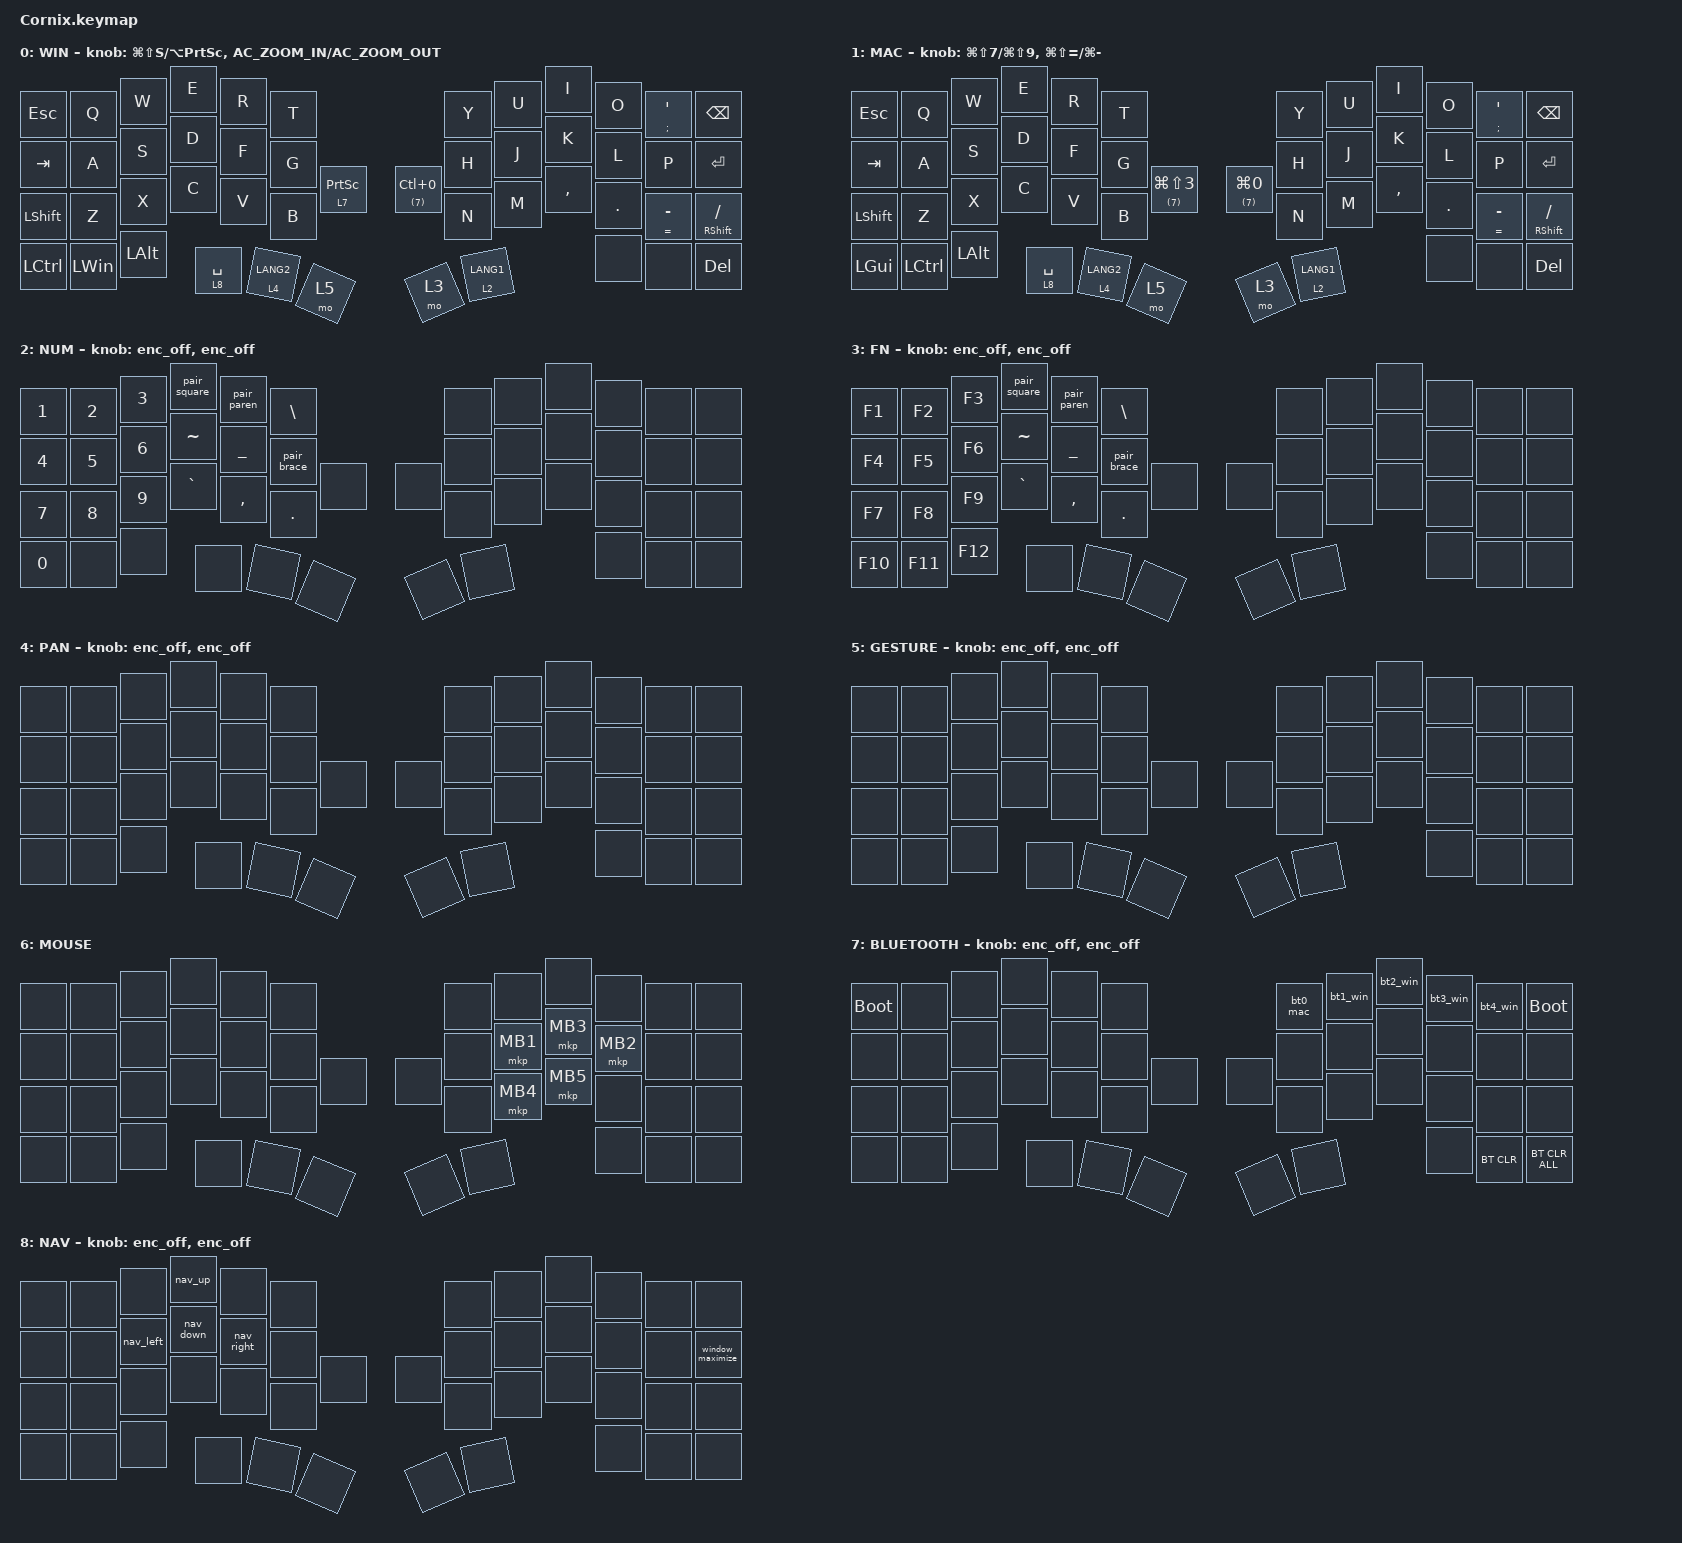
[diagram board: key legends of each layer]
/* Stock Cornix, 49 keys (unused lower-right switch omitted). Right central; no trackball hardware. */

#include <dt-bindings/zmk/input_transform.h>
#include <input/processors.dtsi>
#include <behaviors.dtsi>
#include <dt-bindings/zmk/bt.h>
#include <dt-bindings/zmk/keys.h>
#include <dt-bindings/zmk/pointing.h>

&mt {
    flavor = "balanced";
    quick-tap-ms = <0>;
};

/ {
    macros {
        pair_paren: pair_paren {
            compatible = "zmk,behavior-macro";
            #binding-cells = <0>;
            display-name = "Pair ()";
            wait-ms = <10>;
            tap-ms = <10>;
            bindings = <&macro_tap>, <&kp LS(N9) &kp LS(N0) &kp LEFT>;
        };

        pair_square: pair_square {
            compatible = "zmk,behavior-macro";
            #binding-cells = <0>;
            display-name = "Pair []";
            wait-ms = <10>;
            tap-ms = <10>;
            bindings = <&macro_tap>, <&kp LBKT &kp RBKT &kp LEFT>;
        };

        pair_brace: pair_brace {
            compatible = "zmk,behavior-macro";
            #binding-cells = <0>;
            display-name = "Pair {}";
            wait-ms = <10>;
            tap-ms = <10>;
            bindings = <&macro_tap>, <&kp LS(LBKT) &kp LS(RBKT) &kp LEFT>;
        };

        /* Keep legacy macro node names so existing Studio bindings resolve.
         * All five now select only a Bluetooth slot; OS is always automatic. */

        bt0_mac: bt0_mac {
            compatible = "zmk,behavior-macro";
            #binding-cells = <0>;
            bindings = <&bt BT_SEL 0>;
            display-name = "BT 0";
            label = "BT0_MAC";
        };

        bt1_win: bt1_win {
            compatible = "zmk,behavior-macro";
            #binding-cells = <0>;
            bindings = <&bt BT_SEL 1>;
            display-name = "BT 1";
            label = "BT1_WIN";
        };

        bt2_win: bt2_win {
            compatible = "zmk,behavior-macro";
            #binding-cells = <0>;
            bindings = <&bt BT_SEL 2>;
            display-name = "BT 2";
            label = "BT2_WIN";
        };

        bt3_win: bt3_win {
            compatible = "zmk,behavior-macro";
            #binding-cells = <0>;
            bindings = <&bt BT_SEL 3>;
            display-name = "BT 3";
            label = "BT3_WIN";
        };

        bt4_win: bt4_win {
            compatible = "zmk,behavior-macro";
            #binding-cells = <0>;
            bindings = <&bt BT_SEL 4>;
            display-name = "BT 4";
            label = "BT4_WIN";
        };
    };

    behaviors {
        window_maximize: window_maximize {
            compatible = "custom,behavior-os-key";
            #binding-cells = <0>;
            mac-layer = <1>;
            win-keycode = <LG(UP)>;
            mac-keycode = <LG(ENTER)>;
        };

        window_up: window_up {
            compatible = "custom,behavior-os-key";
            #binding-cells = <0>;
            mac-layer = <1>;
            win-keycode = <LG(LS(LEFT))>;
            mac-keycode = <LG(UP)>;
        };

        window_left: window_left {
            compatible = "custom,behavior-os-key";
            #binding-cells = <0>;
            mac-layer = <1>;
            win-keycode = <LG(LEFT)>;
            mac-keycode = <LG(LEFT)>;
        };

        window_down: window_down {
            compatible = "custom,behavior-os-key";
            #binding-cells = <0>;
            mac-layer = <1>;
            win-keycode = <LG(LS(RIGHT))>;
            mac-keycode = <LG(DOWN)>;
        };

        window_right: window_right {
            compatible = "custom,behavior-os-key";
            #binding-cells = <0>;
            mac-layer = <1>;
            win-keycode = <LG(RIGHT)>;
            mac-keycode = <LG(RIGHT)>;
        };

        /* NAV: single tap = arrow, double tap = OS-specific Window action. */

        nav_up: nav_up {
            compatible = "zmk,behavior-tap-dance";
            #binding-cells = <0>;
            tapping-term-ms = <200>;
            bindings = <&kp UP>, <&window_up>;
        };

        nav_left: nav_left {
            compatible = "zmk,behavior-tap-dance";
            #binding-cells = <0>;
            tapping-term-ms = <200>;
            bindings = <&kp LEFT>, <&window_left>;
        };

        nav_down: nav_down {
            compatible = "zmk,behavior-tap-dance";
            #binding-cells = <0>;
            tapping-term-ms = <200>;
            bindings = <&kp DOWN>, <&window_down>;
        };

        nav_right: nav_right {
            compatible = "zmk,behavior-tap-dance";
            #binding-cells = <0>;
            tapping-term-ms = <200>;
            bindings = <&kp RIGHT>, <&window_right>;
        };

        /* Consumes rotation without output; an omitted binding would fall
         * through to the WIN/MAC base layer.
         */

        enc_off: enc_off {
            compatible = "zmk,behavior-sensor-rotate";
            #sensor-binding-cells = <0>;
            bindings = <&none>, <&none>;
        };
    };

    keymap {
        compatible = "zmk,keymap";

        WIN {
            display-name = "WIN";
            bindings = <
&kp ESC         &kp Q         &kp W         &kp E        &kp R        &kp T                               &kp Y  &kp U        &kp I      &kp O    &mt SEMICOLON SQT  &kp BACKSPACE
&kp TAB         &kp A         &kp S         &kp D        &kp F        &kp G                               &kp H  &kp J        &kp K      &kp L    &kp P              &kp ENTER
&kp LEFT_SHIFT  &kp Z         &kp X         &kp C        &kp V        &kp B  &lt 7 PSCRN  &lt (7) LC(N0)  &kp N  &kp M        &kp COMMA  &kp DOT  &mt EQUAL MINUS    &mt RSHFT SLASH
&kp LCTRL       &kp LEFT_WIN  &kp LEFT_ALT  &lt 8 SPACE  &lt 4 LANG2  &mo 5                               &mo 3  &lt 2 LANG1             &none    &none              &kp DELETE
            >;

            sensor-bindings =
                <&inc_dec_kp LG(LS(S)) LA(PSCRN)>,
                <&inc_dec_kp C_AC_ZOOM_IN C_AC_ZOOM_OUT>;
        };

        MAC {
            display-name = "MAC";
            bindings = <
&kp ESC         &kp Q      &kp W         &kp E        &kp R        &kp T                                      &kp Y  &kp U        &kp I      &kp O    &mt SEMICOLON SQT  &kp BACKSPACE
&kp TAB         &kp A      &kp S         &kp D        &kp F        &kp G                                      &kp H  &kp J        &kp K      &kp L    &kp P              &kp ENTER
&kp LEFT_SHIFT  &kp Z      &kp X         &kp C        &kp V        &kp B  &lt (7) LG(LS(N3))  &lt (7) LG(N0)  &kp N  &kp M        &kp COMMA  &kp DOT  &mt EQUAL MINUS    &mt RSHFT SLASH
&kp LEFT_GUI    &kp LCTRL  &kp LEFT_ALT  &lt 8 SPACE  &lt 4 LANG2  &mo 5                                      &mo 3  &lt 2 LANG1             &none    &none              &kp DELETE
            >;

            sensor-bindings = <&inc_dec_kp LG(LS(N7)) LG(LS(N9)) &inc_dec_kp LG(LS(EQUAL)) LG(MINUS)>;
        };

        NUM {
            display-name = "NUM";
            bindings = <
&kp N1  &kp N2     &kp N3      &pair_square  &pair_paren     &kp BACKSLASH                &none  &none  &none  &none  &none  &none
&kp N4  &kp N5     &kp N6      &kp TILDE     &kp UNDERSCORE  &pair_brace                  &none  &none  &none  &none  &none  &none
&kp N7  &kp N8     &kp N9      &kp GRAVE     &kp COMMA       &kp PERIOD     &none  &none  &none  &none  &none  &none  &none  &none
&kp N0  &none      &none       &none         &none           &none                        &none  &none         &none  &none  &none
            >;

            sensor-bindings = <&enc_off &enc_off>;
        };

        FN {
            display-name = "FN";
            bindings = <
&kp F1   &kp F2   &kp F3   &pair_square  &pair_paren     &kp BACKSLASH                &none  &none  &none  &none  &none  &none
&kp F4   &kp F5   &kp F6   &kp TILDE     &kp UNDERSCORE  &pair_brace                  &none  &none  &none  &none  &none  &none
&kp F7   &kp F8   &kp F9   &kp GRAVE     &kp COMMA       &kp PERIOD     &none  &none  &none  &none  &none  &none  &none  &none
&kp F10  &kp F11  &kp F12  &none         &none           &none                        &none  &none         &none  &none  &none
            >;

            sensor-bindings = <&enc_off &enc_off>;
        };

        PAN {
            display-name = "PAN";
            bindings = <
&none  &none  &none  &none  &none  &none                &none  &none  &none  &none  &none  &none
&none  &none  &none  &none  &none  &none                &none  &none  &none  &none  &none  &none
&none  &none  &none  &none  &none  &none  &none  &none  &none  &none  &none  &none  &none  &none
&none  &none  &none  &none  &none  &none                &none  &none         &none  &none  &none
            >;

            sensor-bindings = <&enc_off &enc_off>;
        };

        GESTURE {
            display-name = "GESTURE";
            bindings = <
&none  &none  &none  &none  &none  &none                &none  &none  &none  &none  &none  &none
&none  &none  &none  &none  &none  &none                &none  &none  &none  &none  &none  &none
&none  &none  &none  &none  &none  &none  &none  &none  &none  &none  &none  &none  &none  &none
&none  &none  &none  &none  &none  &none                &none  &none         &none  &none  &none
            >;

            sensor-bindings = <&enc_off &enc_off>;
        };

        MOUSE {
            display-name = "MOUSE";
            bindings = <
&none  &none  &none  &none  &none  &none                &none  &none     &none     &none     &none  &none
&none  &none  &none  &none  &none  &none                &none  &mkp MB1  &mkp MB3  &mkp MB2  &none  &none
&none  &none  &none  &none  &none  &none  &none  &none  &none  &mkp MB4  &mkp MB5  &none     &none  &none
&none  &none  &none  &none  &none  &none                &none  &none               &none     &none  &none
            >;

            /* No sensor-bindings: knobs fall through to the WIN/MAC base layer. */
        };

        BLUETOOTH {
            display-name = "BLUETOOTH";
            bindings = <
&bootloader  &none  &none  &none  &none  &none                &bt0_mac  &bt1_win  &bt2_win  &bt3_win  &bt4_win    &bootloader
&none        &none  &none  &none  &none  &none                &none     &none     &none     &none     &none       &none
&none        &none  &none  &none  &none  &none  &none  &none  &none     &none     &none     &none     &none       &none
&none        &none  &none  &none  &none  &none                &none     &none               &none     &bt BT_CLR  &bt BT_CLR_ALL
            >;

            sensor-bindings = <&enc_off &enc_off>;
        };

        NAV {
            display-name = "NAV";
            bindings = <
&none  &none  &none      &nav_up    &none       &none                &none  &none  &none  &none  &none  &none
&none  &none  &nav_left  &nav_down  &nav_right  &none                &none  &none  &none  &none  &none  &window_maximize
&none  &none  &none      &none      &none       &none  &none  &none  &none  &none  &none  &none  &none  &none
&none  &none  &none      &none      &none       &none                &none  &none         &none  &none  &none
            >;

            sensor-bindings = <&enc_off &enc_off>;
        };
    };
};
